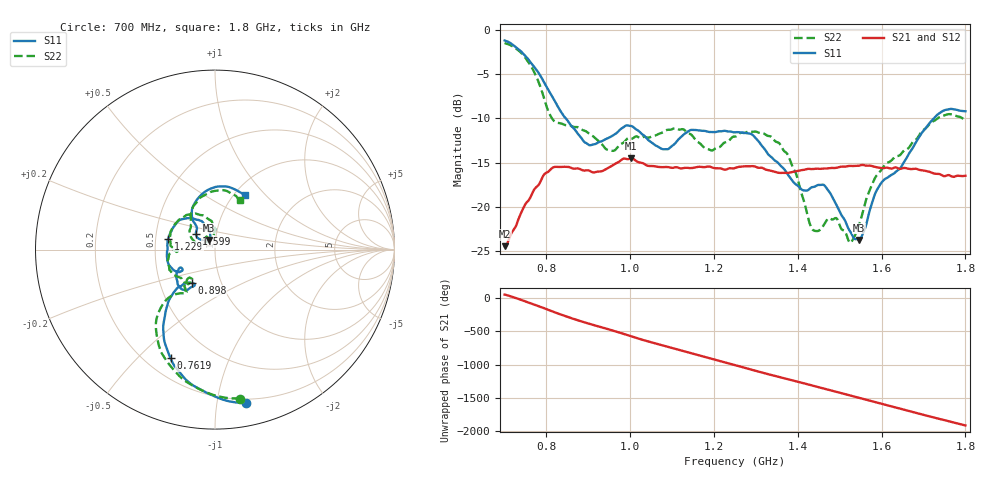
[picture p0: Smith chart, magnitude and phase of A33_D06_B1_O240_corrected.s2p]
! Created with skrf 1.9.0 (http://scikit-rf.org).
# Hz S RI R 50.0
!freq ReS11 ImS11 ReS21 ImS21 ReS12 ImS12 ReS22 ImS22
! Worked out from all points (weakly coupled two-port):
!   1601 points, 700 MHz to 1.8 GHz, reference 50 ohm
!   highest |S21| = -14.53 dB at 1.002 GHz (marker M1); lowest = -24.5 dB at 700.7 MHz (marker M2)
!   lowest |S11| = -23.7 dB at 1.546 GHz (marker M3), VSWR 1.14, Z = 46.3 + j5.03 ohm
!   |S11| at or under -10 dB: 845.9 MHz to 1.724 GHz (878.6 MHz wide, 68.4 % of centre)
!   |S22| runs from -24.1 to -1.5 dB; largest |S21 - S12| = 0.0035
!   S11 on the Smith chart (normalised r, x): 700 MHz: 0.17, -1.21; 761.9 MHz: 0.30, -0.63; 898 MHz: 0.72, -0.28; 1.229 GHz: 0.58, +0.08; 1.599 GHz: 0.80, +0.14; 1.8 GHz: 1.11, +0.77
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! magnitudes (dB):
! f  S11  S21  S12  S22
! 700 MHz  -1.2  -24.5  -24.2  -1.5
! 700.7 MHz  -1.2  -24.5  -24.1  -1.5
! 761.9 MHz  -3.7  -18.9  -18.8  -4.0
! 815.5 MHz  -7.7  -15.6  -15.6  -10.2
! 883.6 MHz  -12.2  -15.8  -15.7  -11.3
! 898 MHz  -12.9  -15.9  -15.9  -11.6
! 954.4 MHz  -12.1  -15.4  -15.4  -13.7
! 1.002 GHz  -10.9  -14.5  -14.6  -12.3
! 1.067 GHz  -13.2  -15.5  -15.4  -11.8
! 1.229 GHz  -11.4  -15.8  -15.7  -12.7
! 1.25 GHz  -11.6  -15.6  -15.5  -12.1
! 1.357 GHz  -15.2  -16.2  -16.1  -12.9
! 1.395 GHz  -17.5  -16.0  -16.0  -16.2
! 1.434 GHz  -17.8  -15.7  -15.7  -22.5
! 1.462 GHz  -17.5  -15.7  -15.7  -22.0
! 1.491 GHz  -19.6  -15.6  -15.6  -21.3
! 1.526 GHz  -22.9  -15.4  -15.4  -24.1
! 1.546 GHz  -23.7  -15.4  -15.3  -22.1
! 1.599 GHz  -17.3  -15.6  -15.6  -15.8
! 1.617 GHz  -16.6  -15.6  -15.6  -14.9
! 1.733 GHz  -9.6  -16.3  -16.3  -10.0
! 1.8 GHz  -9.2  -16.5  -16.5  -10.2
